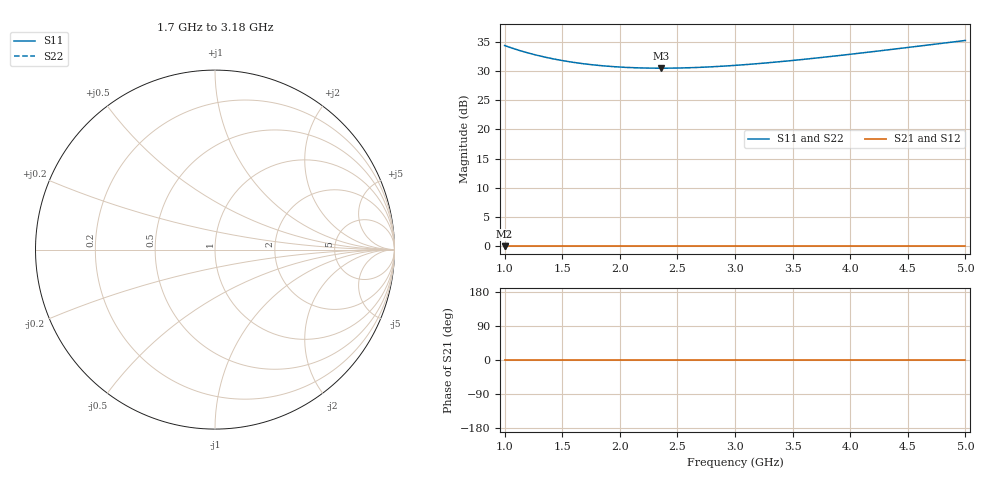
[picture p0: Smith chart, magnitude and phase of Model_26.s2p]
# GHZ S RI R 50
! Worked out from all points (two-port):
!   401 points, 1 GHz to 5 GHz, reference 50 ohm
!   highest |S21| = 0.00 dB at 1 GHz (marker M1); lowest = 0.0 dB at 1 GHz (marker M2)
!   |S21| within 3 dB of the highest: start of sweep to end of sweep
!   lowest |S11| = 30.5 dB at 2.36 GHz (marker M3)
!   |S11| at or under -10 dB: nowhere
!   |S22| runs from 30.5 to 35.2 dB; largest |S21 - S12| = 0
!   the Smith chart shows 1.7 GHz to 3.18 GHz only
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1  52.21 0  1 0  1 0  52.21 0
1.02  51.37 0  1 0  1 0  51.37 0
1.15  46.68 0  1 0  1 0  46.68 0
1.22  44.63 0  1 0  1 0  44.63 0
1.3  42.63 0  1 0  1 0  42.63 0
1.38  40.92 0  1 0  1 0  40.92 0
1.47  39.3 0  1 0  1 0  39.3 0
1.57  37.82 0  1 0  1 0  37.82 0
1.67  36.61 0  1 0  1 0  36.61 0
1.82  35.23 0  1 0  1 0  35.23 0
1.98  34.24 0  1 0  1 0  34.24 0
2.15  33.62 0  1 0  1 0  33.62 0
2.34  33.38 0  1 0  1 0  33.38 0
2.36  33.38 0  1 0  1 0  33.38 0
2.67  33.87 0  1 0  1 0  33.87 0
3  35.28 0  1 0  1 0  35.28 0
3.33  37.48 0  1 0  1 0  37.48 0
3.67  40.43 0  1 0  1 0  40.43 0
4  43.91 0  1 0  1 0  43.91 0
4.34  48.07 0  1 0  1 0  48.07 0
4.64  52.19 0  1 0  1 0  52.19 0
5  57.68 0  1 0  1 0  57.68 0
